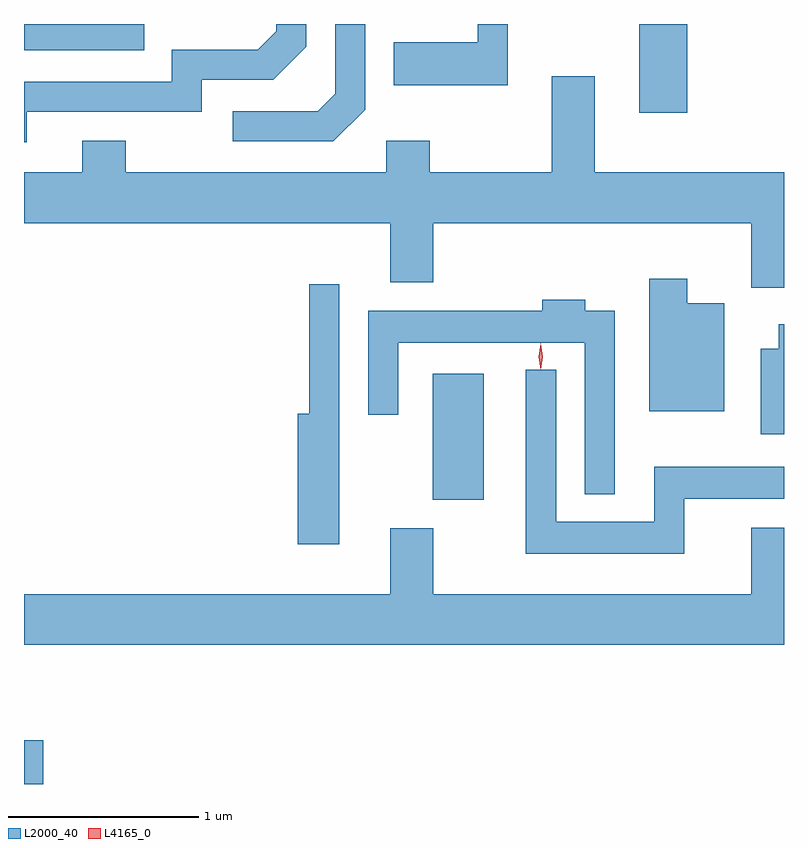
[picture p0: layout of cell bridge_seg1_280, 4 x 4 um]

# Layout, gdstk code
import gdstk
lib = gdstk.Library(unit=1e-6, precision=1e-09)
def R(c, l, rs):  # rectangles x0, y0, x1, y1
    for r in rs: c.add(gdstk.rectangle(r[:2], r[2:], *l))
def P(c, l, *ps):  # polygons
    for p in ps: c.add(gdstk.Polygon(p, *l))
L2000_40 = (2000, 40)
L4165_0 = (4165, 0)

bridge_seg1_280 = lib.new_cell('bridge_seg1_280')
R(bridge_seg1_280, L2000_40, [(845.444,901.064,845.544,901.294), (847.596,902.561,847.864,903.224), (848.681,904.596,848.934,905.064), (845.444,904.926,846.078,905.064)])
P(bridge_seg1_280, L2000_40, [(847.239,904.614),(847.239,905.064),(847.081,905.064),(847.081,904.697),(846.989,904.604),(846.543,904.604),(846.543,904.446),(847.072,904.446)],
  [(845.459,904.601),(846.379,904.601),(846.379,904.771),(846.757,904.771),(846.929,904.944),(846.929,905.064),(846.771,905.064),(846.771,905.027),(846.674,904.929),(846.221,904.929),(846.221,904.759),(845.444,904.759),(845.444,904.441),(845.459,904.441)],
  [(847.989,905.064),(847.831,905.064),(847.831,904.969),(847.391,904.969),(847.391,904.741),(847.989,904.741)],
  [(849.444,904.284),(848.449,904.284),(848.449,904.789),(848.221,904.789),(848.221,904.284),(847.579,904.284),(847.579,904.449),(847.351,904.449),(847.351,904.284),(845.979,904.284),(845.979,904.449),(845.751,904.449),(845.751,904.284),(845.444,904.284),(845.444,904.016),(847.371,904.016),(847.371,903.706),(847.599,903.706),(847.599,904.016),(849.271,904.016),(849.271,903.676),(849.444,903.676)],
  [(849.129,903.594),(848.934,903.594),(848.934,903.724),(848.736,903.724),(848.736,903.026),(849.129,903.026)],
  [(847.104,903.693),(846.946,903.693),(846.946,903.014),(846.886,903.014),(846.886,902.326),(847.104,902.326)],
  [(848.554,903.554),(848.399,903.554),(848.399,903.614),(848.171,903.614),(848.171,903.554),(847.256,903.554),(847.256,903.008),(847.414,903.008),(847.414,903.386),(848.396,903.386),(848.396,902.588),(848.554,902.588)],
  [(849.444,903.484),(849.416,903.484),(849.416,903.354),(849.321,903.354),(849.321,902.906),(849.444,902.906)],
  [(848.919,902.566),(849.444,902.566),(849.444,902.734),(848.761,902.734),(848.761,902.444),(848.244,902.444),(848.244,903.243),(848.086,903.243),(848.086,902.276),(848.919,902.276)],
  [(849.444,902.414),(849.271,902.414),(849.271,902.064),(847.599,902.064),(847.599,902.409),(847.371,902.409),(847.371,902.064),(845.444,902.064),(845.444,901.796),(849.444,901.796)])
P(bridge_seg1_280, L4165_0, [(848.163,903.243),(848.163,903.244),(848.153,903.313),(848.163,903.382),(848.163,903.383),(848.164,903.382),(848.173,903.313),(848.164,903.244)])

lib.write_gds('bridge_seg1_280.gds')
